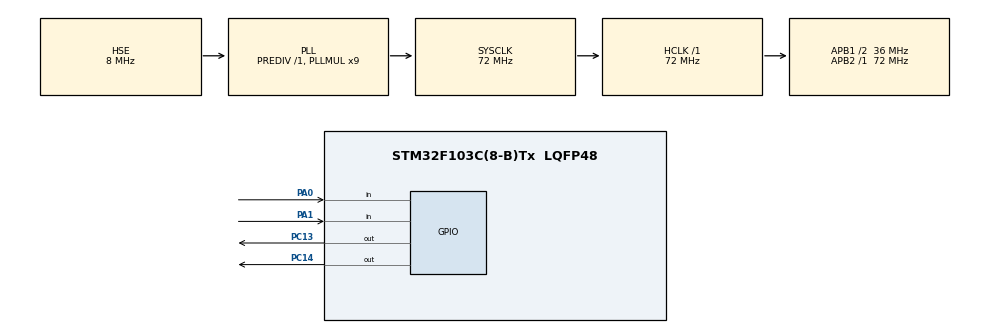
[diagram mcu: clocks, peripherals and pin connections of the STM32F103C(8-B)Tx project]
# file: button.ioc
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Mcu.Family=STM32F1
Mcu.Name=STM32F103C(8-B)Tx
Mcu.Package=LQFP48
NVIC.PriorityGroup=NVIC_PRIORITYGROUP_4
PA0-WKUP.GPIO_PuPd=GPIO_PULLUP
PA0-WKUP.Signal=GPIO_Input
PA1.GPIO_PuPd=GPIO_PULLUP
PA1.Signal=GPIO_Input
PA13.Mode=Serial_Wire
PA13.Signal=SYS_JTMS-SWDIO
PA14.Mode=Serial_Wire
PA14.Signal=SYS_JTCK-SWCLK
PC13-TAMPER-RTC.Signal=GPIO_Output
PC14-OSC32_IN.Signal=GPIO_Output
PD0-OSC_IN.Mode=HSE-External-Oscillator
PD0-OSC_IN.Signal=RCC_OSC_IN
PD1-OSC_OUT.Mode=HSE-External-Oscillator
PD1-OSC_OUT.Signal=RCC_OSC_OUT
ProjectManager.HeapSize=0x200
ProjectManager.StackSize=0x400
ProjectManager.TargetToolchain=MDK-ARM V5.32
RCC.AHBFreq_Value=72000000
RCC.APB1CLKDivider=RCC_HCLK_DIV2
RCC.APB1Freq_Value=36000000
RCC.APB1TimFreq_Value=72000000
RCC.APB2Freq_Value=72000000
RCC.APB2TimFreq_Value=72000000
RCC.HCLKFreq_Value=72000000
RCC.PLLMUL=RCC_PLL_MUL9
RCC.PLLSourceVirtual=RCC_PLLSOURCE_HSE
RCC.SYSCLKFreq_VALUE=72000000
RCC.SYSCLKSource=RCC_SYSCLKSOURCE_PLLCLK
RCC.USBFreq_Value=72000000
board=custom

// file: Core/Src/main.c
/* USER CODE BEGIN Header */
/**
  ******************************************************************************
  * @file           : main.c
  * @brief          : Main program body
  ******************************************************************************
  * @attention
  *
  * Copyright (c) 2023 STMicroelectronics.
  * All rights reserved.
  *
  * This software is licensed under terms that can be found in the LICENSE file
  * in the root directory of this software component.
  * If no LICENSE file comes with this software, it is provided AS-IS.
  *
  ******************************************************************************
  */
/* USER CODE END Header */
#include "main.h"

/* USER CODE BEGIN Includes */
#include "Button.h"
/* USER CODE END Includes */

void SystemClock_Config(void);
static void MX_GPIO_Init(void);

/* USER CODE BEGIN 0 */
Button_Typedef button1;
Button_Typedef button2;
typedef enum{
	LED_OFF,
	LED1_BLINK_1HZ,
	LED2_BLINK_5HZ,
}LED_STATUS;

LED_STATUS led_status;
void btn_pressing_callback(Button_Typedef *ButtonX) // nhan nut
{
	if(ButtonX == &button1)
	{
		switch(led_status)
		{
			case LED_OFF:
				led_status = LED1_BLINK_1HZ;
			break;
			case LED1_BLINK_1HZ:
				led_status = LED2_BLINK_5HZ;
			break;
			case LED2_BLINK_5HZ:
				led_status = LED_OFF;
			break;
			default:
				break;

		}
	}
	else if(ButtonX == &button2)
	{
	}
}

/* USER CODE END 0 */

int main(void)
{

  /* MCU Configuration--------------------------------------------------------*/

  /* Reset of all peripherals, Initializes the Flash interface and the Systick. */
  HAL_Init();

  /* USER CODE BEGIN Init */
	button_init(&button1,GPIOA,GPIO_PIN_0);
	button_init(&button2,GPIOA,GPIO_PIN_1);
  /* USER CODE END Init */

  /* Configure the system clock */
  SystemClock_Config();

  /* Initialize all configured peripherals */
  MX_GPIO_Init();
  /* USER CODE BEGIN 2 */
	led_status = LED_OFF;
  /* USER CODE END 2 */

  /* Infinite loop */
  while (1)
  {

    /* USER CODE BEGIN 3 */
		button_handle(&button1);
		button_handle(&button2);
  }
  /* USER CODE END 3 */
}

void SystemClock_Config(void)
{
  RCC_OscInitTypeDef RCC_OscInitStruct = {0};
  RCC_ClkInitTypeDef RCC_ClkInitStruct = {0};

  /** Initializes the RCC Oscillators according to the specified parameters
  * in the RCC_OscInitTypeDef structure.
  */
  RCC_OscInitStruct.OscillatorType = RCC_OSCILLATORTYPE_HSE;
  RCC_OscInitStruct.HSEState = RCC_HSE_ON;
  RCC_OscInitStruct.HSEPredivValue = RCC_HSE_PREDIV_DIV1;
  RCC_OscInitStruct.HSIState = RCC_HSI_ON;
  RCC_OscInitStruct.PLL.PLLState = RCC_PLL_ON;
  RCC_OscInitStruct.PLL.PLLSource = RCC_PLLSOURCE_HSE;
  RCC_OscInitStruct.PLL.PLLMUL = RCC_PLL_MUL9;
  if (HAL_RCC_OscConfig(&RCC_OscInitStruct) != HAL_OK)
  {
    Error_Handler();
  }

  /** Initializes the CPU, AHB and APB buses clocks
  */
  RCC_ClkInitStruct.ClockType = RCC_CLOCKTYPE_HCLK|RCC_CLOCKTYPE_SYSCLK
                              |RCC_CLOCKTYPE_PCLK1|RCC_CLOCKTYPE_PCLK2;
  RCC_ClkInitStruct.SYSCLKSource = RCC_SYSCLKSOURCE_PLLCLK;
  RCC_ClkInitStruct.AHBCLKDivider = RCC_SYSCLK_DIV1;
  RCC_ClkInitStruct.APB1CLKDivider = RCC_HCLK_DIV2;
  RCC_ClkInitStruct.APB2CLKDivider = RCC_HCLK_DIV1;

  if (HAL_RCC_ClockConfig(&RCC_ClkInitStruct, FLASH_LATENCY_2) != HAL_OK)
  {
    Error_Handler();
  }
}

static void MX_GPIO_Init(void)
{
  GPIO_InitTypeDef GPIO_InitStruct = {0};

  /* GPIO Ports Clock Enable */
  __HAL_RCC_GPIOC_CLK_ENABLE();
  __HAL_RCC_GPIOD_CLK_ENABLE();
  __HAL_RCC_GPIOA_CLK_ENABLE();

  /*Configure GPIO pin Output Level */
  HAL_GPIO_WritePin(GPIOC, GPIO_PIN_13|GPIO_PIN_14, GPIO_PIN_RESET);

  /*Configure GPIO pins : PC13 PC14 */
  GPIO_InitStruct.Pin = GPIO_PIN_13|GPIO_PIN_14;
  GPIO_InitStruct.Mode = GPIO_MODE_OUTPUT_PP;
  GPIO_InitStruct.Pull = GPIO_NOPULL;
  GPIO_InitStruct.Speed = GPIO_SPEED_FREQ_LOW;
  HAL_GPIO_Init(GPIOC, &GPIO_InitStruct);

  /*Configure GPIO pins : PA0 PA1 */
  GPIO_InitStruct.Pin = GPIO_PIN_0|GPIO_PIN_1;
  GPIO_InitStruct.Mode = GPIO_MODE_INPUT;
  GPIO_InitStruct.Pull = GPIO_PULLUP;
  HAL_GPIO_Init(GPIOA, &GPIO_InitStruct);

}

void Error_Handler(void)
{
  __disable_irq();
  while (1)
  {
  }
}
